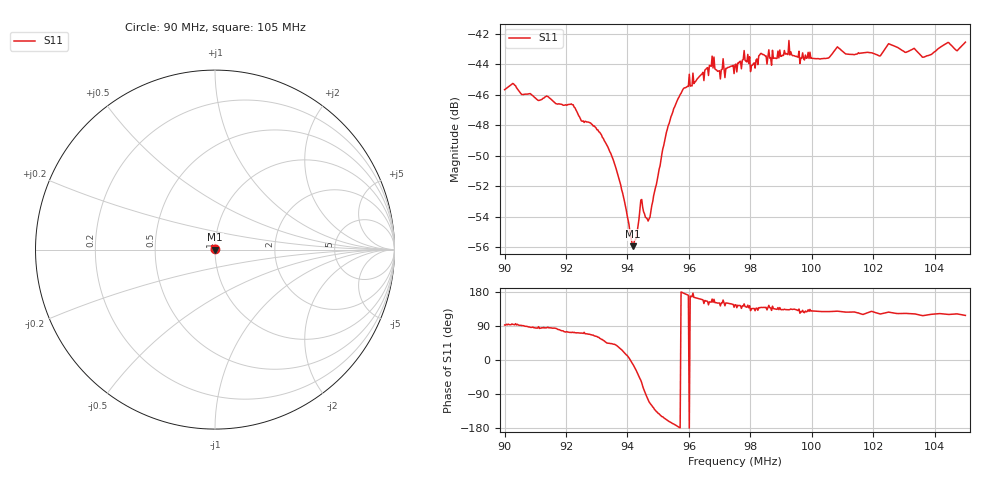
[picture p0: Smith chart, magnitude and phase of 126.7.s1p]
# HZ S RI R 50
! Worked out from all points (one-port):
!   505 points, 90 MHz to 105 MHz, reference 50 ohm
!   lowest |S11| = -55.9 dB at 94.17 MHz (marker M1), VSWR 1.00, Z = 50.2 - j0.0279 ohm
!   |S11| at or under -10 dB: start of sweep to end of sweep
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9e7  -0.000217 0.0052
9.029762e7  -0.000351 0.00543
9.187501e7  0.00105 0.00454
9.220239e7  0.00131 0.00446
9.309525e7  0.00204 0.00318
9.375001e7  0.00223 0.00134
9.416668e7  0.00157 -0.000278
9.425597e7  0.00154 -0.00067
9.443454e7  0.00135 -0.00182
9.464287e7  -0.000323 -0.00194
9.473216e7  -0.000805 -0.00182
9.526787e7  -0.00349 -0.00145
9.562502e7  -0.0048 -0.000435
9.675597e7  -0.00634 0.0022
9.696431e7  -0.00521 0.00297
9.750002e7  -0.0052 0.00354
9.785717e7  -0.00495 0.00414
9.80655e7  -0.00448 0.00437
9.836312e7  -0.00515 0.00451
9.937503e7  -0.00463 0.00489
1.004762e8  -0.00404 0.00521
1.008631e8  -0.00446 0.00559
1.0125e8  -0.00405 0.00547
1.022024e8  -0.00353 0.00572
1.025298e8  -0.00431 0.00595
1.03125e8  -0.00375 0.00584
1.036608e8  -0.00309 0.00591
1.05e8  -0.00346 0.00661
